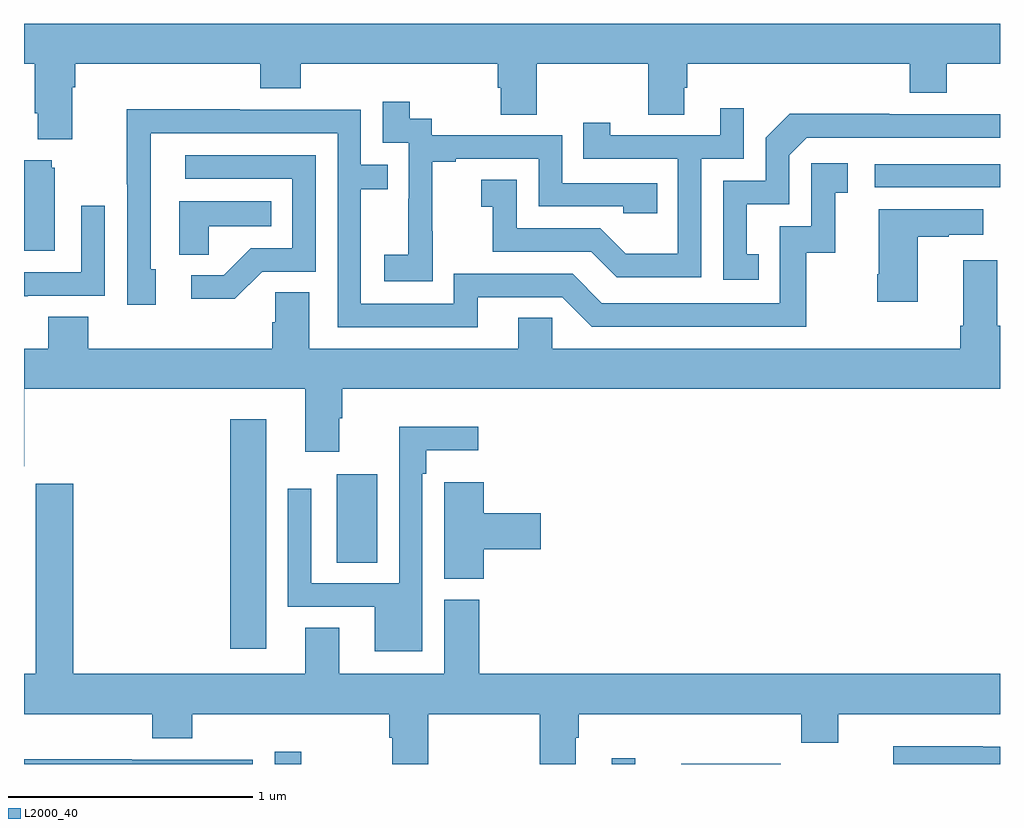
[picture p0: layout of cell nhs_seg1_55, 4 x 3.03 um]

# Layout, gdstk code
import gdstk
lib = gdstk.Library(unit=1e-6, precision=1e-09)
def R(c, l, rs):  # rectangles x0, y0, x1, y1
    for r in rs: c.add(gdstk.rectangle(r[:2], r[2:], *l))
def P(c, l, *ps):  # polygons
    for p in ps: c.add(gdstk.Polygon(p, *l))
L2000_40 = (2000, 40)

nhs_seg1_55 = lib.new_cell('nhs_seg1_55')
R(nhs_seg1_55, L2000_40, [(114.027,546.199,114.136,546.25), (115.409,546.199,115.506,546.223), (113.846,546.672,113.992,547.612), (114.281,547.024,114.448,547.387), (116.487,548.562,117,548.658)])
P(nhs_seg1_55, L2000_40, [(113.197,548.972),(113.21,548.972),(113.21,549.068),(113.969,549.068),(113.969,548.969),(114.134,548.969),(114.134,549.068),(114.941,549.068),(114.941,548.97),(114.953,548.97),(114.953,548.86),(115.101,548.86),(115.101,549.068),(115.558,549.068),(115.558,548.86),(115.705,548.86),(115.705,548.97),(115.718,548.97),(115.718,549.068),(116.63,549.068),(116.63,548.951),(116.782,548.951),(116.782,549.068),(117,549.068),(117,549.232),(113,549.232),(113,549.068),(113.045,549.068),(113.045,548.866),(113.057,548.866),(113.057,548.759),(113.197,548.759)],
  [(114.675,548.383),(114.674,548.383),(114.674,548.667),(114.769,548.667),(114.769,548.679),(115.11,548.679),(115.11,548.484),(115.455,548.484),(115.455,548.457),(115.595,548.457),(115.595,548.58),(115.206,548.58),(115.206,548.775),(114.672,548.775),(114.672,548.844),(114.58,548.844),(114.58,548.914),(114.471,548.914),(114.471,548.745),(114.576,548.745),(114.576,548.516),(114.575,548.516),(114.575,548.287),(114.477,548.287),(114.477,548.177),(114.675,548.177)],
  [(115.776,548.679),(115.95,548.679),(115.95,548.887),(115.853,548.887),(115.853,548.775),(115.402,548.775),(115.402,548.827),(115.291,548.827),(115.291,548.679),(115.68,548.679),(115.68,548.29),(115.466,548.29),(115.362,548.394),(115.02,548.394),(115.02,548.593),(114.873,548.593),(114.873,548.483),(114.922,548.483),(114.922,548.298),(115.325,548.298),(115.43,548.193),(115.776,548.193)],
  [(114.859,548.112),(115.206,548.112),(115.326,547.992),(116.206,547.992),(116.206,548.295),(116.324,548.295),(116.324,548.541),(116.377,548.541),(116.377,548.662),(116.226,548.662),(116.226,548.403),(116.097,548.403),(116.097,548.088),(115.368,548.088),(115.248,548.208),(114.762,548.208),(114.762,548.085),(114.381,548.085),(114.381,548.554),(114.491,548.554),(114.491,548.655),(114.381,548.655),(114.381,548.88),(113.885,548.88),(113.885,548.882),(113.422,548.882),(113.422,548.575),(113.424,548.575),(113.424,548.082),(113.539,548.082),(113.539,548.226),(113.52,548.226),(113.52,548.784),(114.285,548.784),(114.285,547.989),(114.859,547.989)],
  [(116.012,548.289),(115.963,548.289),(115.963,548.493),(116.136,548.493),(116.136,548.694),(116.208,548.766),(117,548.766),(117,548.862),(116.546,548.862),(116.546,548.864),(116.138,548.864),(116.04,548.766),(116.04,548.589),(115.866,548.589),(115.866,548.184),(116.012,548.184)],
  [(113.976,548.217),(114.195,548.217),(114.195,548.694),(113.661,548.694),(113.661,548.598),(114.099,548.598),(114.099,548.313),(113.93,548.313),(113.819,548.202),(113.685,548.202),(113.685,548.105),(113.863,548.105)],
  [(113.125,548.643),(113.114,548.643),(113.114,548.674),(113,548.674),(113,548.303),(113.125,548.303)],
  [(113.757,548.402),(114.014,548.402),(114.014,548.506),(113.636,548.506),(113.636,548.287),(113.757,548.287)],
  [(113.015,548.118),(113.331,548.118),(113.331,548.488),(113.235,548.488),(113.235,548.214),(113,548.214),(113,548.117),(113.015,548.117)],
  [(116.662,548.359),(116.789,548.359),(116.789,548.369),(116.932,548.369),(116.932,548.473),(116.504,548.473),(116.504,548.206),(116.497,548.206),(116.497,548.094),(116.662,548.094)],
  [(113.002,547.736),(114.152,547.736),(114.152,547.479),(114.292,547.479),(114.292,547.616),(114.305,547.616),(114.305,547.736),(117,547.736),(117,547.996),(116.989,547.996),(116.989,548.263),(116.849,548.263),(116.849,547.996),(116.837,547.996),(116.837,547.9),(115.164,547.9),(115.164,548.027),(115.025,548.027),(115.025,547.9),(114.169,547.9),(114.169,548.132),(114.03,548.132),(114.03,548.009),(114.017,548.009),(114.017,547.9),(113.264,547.9),(113.264,548.033),(113.099,548.033),(113.099,547.9),(113,547.9),(113,547.419),(113.002,547.419)],
  [(114.633,547.388),(114.649,547.388),(114.649,547.484),(114.862,547.484),(114.862,547.582),(114.537,547.582),(114.537,546.939),(114.177,546.939),(114.177,547.327),(114.081,547.327),(114.081,546.843),(114.437,546.843),(114.437,546.662),(114.633,546.662)],
  [(114.884,547.079),(115.117,547.079),(115.117,547.226),(114.884,547.226),(114.884,547.354),(114.723,547.354),(114.723,547.241),(114.722,547.241),(114.722,546.958),(114.884,546.958)],
  [(114.657,546.404),(115.114,546.404),(115.114,546.199),(115.261,546.199),(115.261,546.306),(115.274,546.306),(115.274,546.404),(116.186,546.404),(116.186,546.287),(116.338,546.287),(116.338,546.404),(117,546.404),(117,546.568),(114.866,546.568),(114.866,546.873),(114.722,546.873),(114.722,546.568),(114.292,546.568),(114.292,546.758),(114.152,546.758),(114.152,546.568),(113.201,546.568),(113.201,547.347),(113.048,547.347),(113.048,546.568),(113,546.568),(113,546.404),(113.525,546.404),(113.525,546.305),(113.69,546.305),(113.69,546.404),(114.497,546.404),(114.497,546.306),(114.509,546.306),(114.509,546.199),(114.657,546.199)],
  [(117,546.27),(116.93,546.27),(116.93,546.271),(116.562,546.271),(116.562,546.199),(117,546.199)],
  [(113.937,546.216),(113.441,546.216),(113.441,546.218),(113,546.218),(113,546.199),(113.937,546.199)],
  [(116.102,546.2),(115.694,546.2),(115.693,546.199),(116.102,546.199)])

lib.write_gds('nhs_seg1_55.gds')
